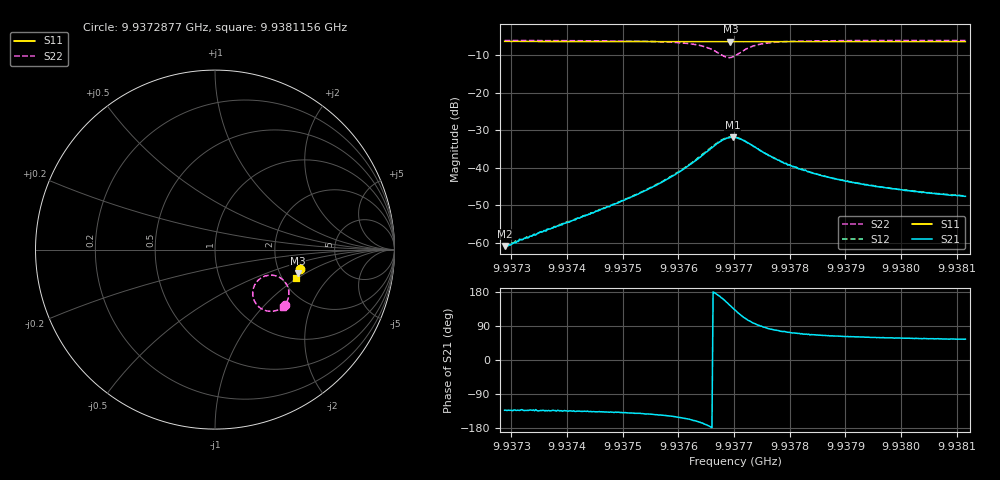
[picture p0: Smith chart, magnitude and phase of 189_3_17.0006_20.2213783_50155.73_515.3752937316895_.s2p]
#  HZ  S  RI  R  50.00
! Rohde & Schwarz Vector Network Analyzer
! Rohde-Schwarz,ZNB20-2Port,1311601062101988,3.16
! Created: UTC 3/20/2024, 11:00:35 PM
! freq[Hz]  re:S11  im:S11  re:S21  im:S21  re:S12  im:S12  re:S22  im:S22
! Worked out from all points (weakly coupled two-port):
!   401 points, 9.9372877 GHz to 9.9381156 GHz, reference 50 ohm
!   highest |S21| = -31.85 dB at 9.9376975 GHz (marker M1); lowest = -60.9 dB at 9.9372877 GHz (marker M2)
!   lowest |S11| = -6.4 dB at 9.9376933 GHz (marker M3), VSWR 2.84, Z = 125 - j42.5 ohm
!   |S11| at or under -10 dB: nowhere
!   |S22| runs from -10.6 to -6.0 dB; largest |S21 - S12| = 0.0012
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9.93728768e9  0.4719 -0.1057  -0.000613 -0.000666  -0.000592 -0.000682  0.3894 -0.3098
9.93729803e9  0.4716 -0.1065  -0.000632 -0.000685  -0.000674 -0.000705  0.3883 -0.3107
9.93731873e9  0.4712 -0.1078  -0.00072 -0.000831  -0.000763 -0.000811  0.3867 -0.3125
9.93742635e9  0.4691 -0.1151  -0.00158 -0.00155  -0.00159 -0.00155  0.3742 -0.3227
9.93750914e9  0.467 -0.1207  -0.00298 -0.00254  -0.00301 -0.00254  0.3579 -0.3325
9.93756502e9  0.4656 -0.1245  -0.00506 -0.00351  -0.00518 -0.00353  0.3373 -0.3406
9.93760848e9  0.4644 -0.1275  -0.00851 -0.00426  -0.00875 -0.00425  0.3064 -0.3439
9.93764781e9  0.4626 -0.1301  -0.0155 -0.00284  -0.0159 -0.00258  0.2508 -0.3242
9.93766229e9  0.4618 -0.1309  -0.0191 0.000111  -0.0194 0.000451  0.2245 -0.2954
9.93767471e9  0.4612 -0.1312  -0.0218 0.00484  -0.0222 0.00563  0.2103 -0.2525
9.93768506e9  0.4606 -0.1311  -0.0222 0.0104  -0.0221 0.0115  0.2167 -0.207
9.93769334e9  0.4605 -0.131  -0.0204 0.0153  -0.0201 0.0163  0.2385 -0.1729
9.93769748e9  0.4606 -0.1311  -0.0188 0.0173  -0.0185 0.0181  0.2543 -0.1598
9.93770162e9  0.4608 -0.1312  -0.0169 0.0189  -0.0165 0.0196  0.2718 -0.1502
9.93771404e9  0.4613 -0.1315  -0.0104 0.0214  -0.00986 0.0219  0.3255 -0.1432
9.93772438e9  0.4614 -0.1322  -0.00568 0.0207  -0.00525 0.0209  0.3603 -0.1552
9.93774922e9  0.4618 -0.1338  0.000192 0.0167  0.000814 0.0167  0.4013 -0.1983
9.93779268e9  0.4612 -0.1375  0.00308 0.011  0.00339 0.0111  0.4121 -0.2483
9.93784029e9  0.46 -0.1411  0.00336 0.00789  0.00356 0.00787  0.4073 -0.2753
9.93790445e9  0.4584 -0.1454  0.00308 0.00581  0.00324 0.0058  0.3994 -0.2944
9.93797895e9  0.4568 -0.1503  0.00278 0.00455  0.00292 0.00454  0.3915 -0.3075
9.93811555e9  0.4532 -0.1591  0.00239 0.00342  0.00251 0.0034  0.3802 -0.3222
